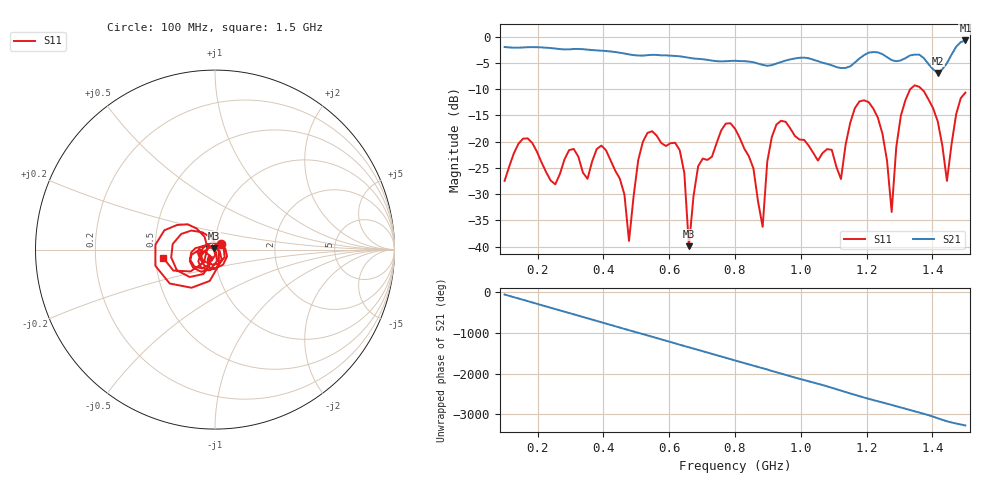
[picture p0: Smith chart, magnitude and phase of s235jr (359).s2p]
! NanoVNA-App
! Date: 2025-09-25 15:06:57
! Start: 100MHz Stop: 1,5GHz Points: 101
! S-Parameter data: F S11 S21 S12 S22
# Hz S RI R 50
!  Frequency  S11_Real  S11_Imag  S21_Real  S21_Imag  S12_Real  S12_Imag  S22_Real  S22_Imag
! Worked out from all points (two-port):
!   101 points, 100 MHz to 1.5 GHz, reference 50 ohm
!   highest |S21| = -0.71 dB at 1.5 GHz (marker M1); lowest = -6.9 dB at 1.416 GHz (marker M2)
!   |S21| within 3 dB of the highest: start of sweep to 627.4 MHz; 1.188 GHz to 1.258 GHz (69.83 MHz wide, 5.71 % of centre) (the widest 2 of 4)
!   lowest |S11| = -39.9 dB at 660 MHz (marker M3), VSWR 1.02, Z = 49.2 + j0.626 ohm
!   |S11| at or under -10 dB: start of sweep to 1.332 GHz; 1.367 GHz to end of sweep
!   S12 and S22 are empty: the file has one direction only
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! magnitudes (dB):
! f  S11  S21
! 100 MHz  -27.5  -2.0
! 156 MHz  -19.4  -2.1
! 338 MHz  -25.9  -2.4
! 408 MHz  -21.6  -2.7
! 478 MHz  -38.9  -3.4
! 520 MHz  -20.1  -3.6
! 576 MHz  -20.3  -3.5
! 632 MHz  -21.6  -3.7
! 660 MHz  -39.9  -4.0
! 688 MHz  -24.7  -4.2
! 800 MHz  -17.5  -4.6
! 884 MHz  -36.2  -5.4
! 926 MHz  -16.7  -5.1
! 1.038 GHz  -22.2  -4.4
! 1.122 GHz  -27.1  -6.0
! 1.206 GHz  -12.5  -3.0
! 1.276 GHz  -33.4  -4.5
! 1.304 GHz  -15.0  -4.5
! 1.332 GHz  -10.0  -3.6
! 1.416 GHz  -16.1  -6.9
! 1.444 GHz  -27.5  -5.0
! 1.5 GHz  -10.7  -0.7
